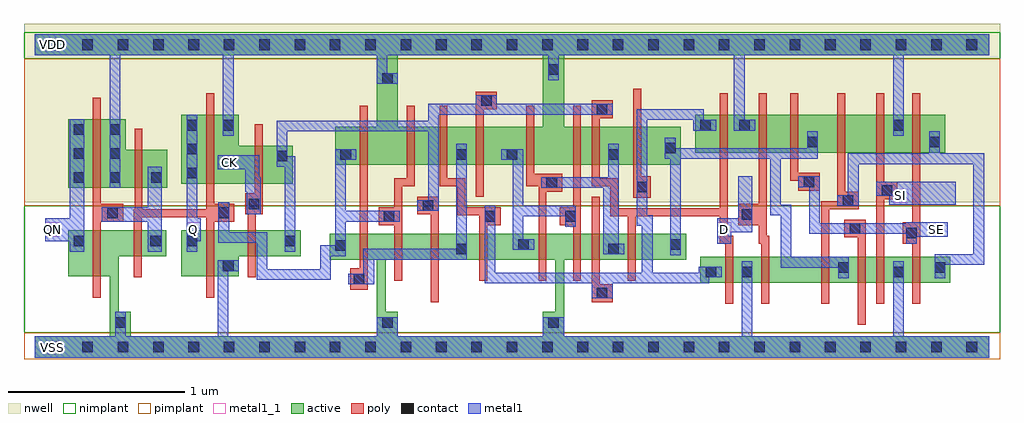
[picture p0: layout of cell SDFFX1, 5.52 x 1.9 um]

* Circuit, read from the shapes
.subckt SDFFX1 CK D Q QN SE SI VDD VSS
M1 VSS n1 QN VSS nfet w=0.26u l=0.045u
M2 n1 n2 VSS VSS nfet w=0.145u l=0.045u
M3 VSS n2 Q VSS nfet w=0.26u l=0.045u
M4 n3 CK VSS VSS nfet w=0.145u l=0.045u
M5 VSS n4 n2 VSS nfet w=0.145u l=0.045u
M6 n5 n2 VSS VSS nfet w=0.145u l=0.045u
M7 n4 n3 n5 VSS nfet w=0.145u l=0.045u
M8 n6 n7 n4 VSS nfet w=0.145u l=0.045u
M9 VSS n8 n6 VSS nfet w=0.145u l=0.045u
M10 n9 n6 VSS VSS nfet w=0.145u l=0.045u
M11 n8 n7 n9 VSS nfet w=0.145u l=0.045u
M12 n10 n3 n8 VSS nfet w=0.145u l=0.045u
M13 VSS n3 n7 VSS nfet w=0.145u l=0.045u
M14 n11 D VSS VSS nfet w=0.145u l=0.045u
M15 n10 n12 n11 VSS nfet w=0.145u l=0.045u
M16 n13 SE n10 VSS nfet w=0.145u l=0.045u
M17 VSS SI n13 VSS nfet w=0.145u l=0.045u
M18 n12 SE VSS VSS nfet w=0.145u l=0.045u
M19 VDD n1 QN VDD pfet w=0.39u l=0.045u
M20 n1 n2 VDD VDD pfet w=0.215u l=0.045u
M21 VDD n2 Q VDD pfet w=0.39u l=0.045u
M22 n3 CK VDD VDD pfet w=0.215u l=0.045u
M23 VDD n4 n2 VDD pfet w=0.215u l=0.045u
M24 n14 n2 VDD VDD pfet w=0.215u l=0.045u
M25 n4 n7 n14 VDD pfet w=0.215u l=0.045u
M26 n6 n3 n4 VDD pfet w=0.215u l=0.045u
M27 VDD n8 n6 VDD pfet w=0.215u l=0.045u
M28 n15 n6 VDD VDD pfet w=0.215u l=0.045u
M29 n8 n3 n15 VDD pfet w=0.215u l=0.045u
M30 n10 n7 n8 VDD pfet w=0.215u l=0.045u
M31 VDD n3 n7 VDD pfet w=0.215u l=0.045u
M32 n16 D VDD VDD pfet w=0.215u l=0.045u
M33 n10 SE n16 VDD pfet w=0.215u l=0.045u
M34 n17 n12 n10 VDD pfet w=0.215u l=0.045u
M35 VDD SI n17 VDD pfet w=0.215u l=0.045u
M36 n12 SE VDD VDD pfet w=0.215u l=0.045u
.ends

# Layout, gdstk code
import gdstk
lib = gdstk.Library(unit=1e-6, precision=5e-10)
def R(c, l, rs):  # rectangles x0, y0, x1, y1
    for r in rs: c.add(gdstk.rectangle(r[:2], r[2:], *l))
def A(c, l, x, y, w, h, nx, ny, dx, dy):  # array of equal rectangles
    R(c, l, [(x+i*dx, y+j*dy, x+i*dx+w, y+j*dy+h) for i in range(nx) for j in range(ny)])
def P(c, l, *ps):  # polygons
    for p in ps: c.add(gdstk.Polygon(p, *l))
active = (1, 0)
nwell = (2, 0)
poly = (3, 0)
nimplant = (4, 0)
pimplant = (5, 0)
contact = (6, 0)
metal1 = (7, 0)
metal1_1 = (7, 1)

sdffx1 = lib.new_cell('SDFFX1')
R(sdffx1, active, [(3.765,0.365,5.18,0.51), (3.735,1.1,5.15,1.315)])
P(sdffx1, active, [(0,1.77),(5.4,1.77),(5.4,1.65),(2.995,1.65),(2.995,1.245),(3.655,1.245),(3.655,1.03),(1.7,1.03),(1.7,1.245),(1.935,1.245),(1.935,1.65),(2.055,1.65),(2.055,1.245),(2.875,1.245),(2.875,1.65),(0,1.65)],
  [(0.83,1.315),(1.155,1.315),(1.155,1.14),(1.46,1.14),(1.46,0.925),(0.83,0.925)],
  [(0.19,1.29),(0.515,1.29),(0.515,1.115),(0.75,1.115),(0.75,0.9),(0.19,0.9)],
  [(0.19,0.66),(0.745,0.66),(0.745,0.515),(0.475,0.515),(0.475,0.2),(0.545,0.2),(0.545,0.06),(1.935,0.06),(1.935,0.495),(1.985,0.495),(1.985,0.2),(2.055,0.2),(2.055,0.06),(2.875,0.06),(2.875,0.2),(2.945,0.2),(2.945,0.495),(1.67,0.495),(1.67,0.64),(3.685,0.64),(3.685,0.495),(2.995,0.495),(2.995,0.06),(5.4,0.06),(5.4,-0.06),(0,-0.06),(0,0.06),(0.425,0.06),(0.425,0.4),(0.19,0.4)],
  [(0.83,0.66),(1.505,0.66),(1.505,0.515),(1.155,0.515),(1.155,0.4),(0.83,0.4)])
R(sdffx1, nwell, [(-0.06,0.82,5.46,1.83)])
P(sdffx1, poly, [(0.565,1.235),(0.61,1.235),(0.61,0.78),(0.97,0.78),(0.97,1.435),(1.015,1.435),(1.015,0.81),(1.13,0.81),(1.13,0.71),(1.015,0.71),(1.015,0.28),(0.97,0.28),(0.97,0.735),(0.605,0.735),(0.605,0.395),(0.56,0.395),(0.56,0.78),(0.565,0.78)],
  [(0.33,1.41),(0.375,1.41),(0.375,0.81),(0.5,0.81),(0.5,0.71),(0.375,0.71),(0.375,0.28),(0.33,0.28)],
  [(2.495,1.445),(2.615,1.445),(2.615,1.345),(2.54,1.345),(2.54,0.85),(2.495,0.85)],
  [(1.245,1.26),(1.29,1.26),(1.29,0.75),(1.25,0.75),(1.25,0.395),(1.205,0.395),(1.205,0.75),(1.19,0.75),(1.19,0.87),(1.245,0.87)],
  [(1.84,1.365),(1.885,1.365),(1.885,0.325),(1.785,0.325),(1.785,0.445),(1.84,0.445)],
  [(2.105,1.365),(2.15,1.365),(2.15,0.91),(2.08,0.91),(2.08,0.375),(2.035,0.375),(2.035,0.69),(1.945,0.69),(1.945,0.79),(2.035,0.79),(2.035,0.955),(2.105,0.955)],
  [(2.29,1.365),(2.335,1.365),(2.335,0.955),(2.435,0.955),(2.435,0.79),(2.635,0.79),(2.635,0.69),(2.56,0.69),(2.56,0.375),(2.515,0.375),(2.515,0.745),(2.39,0.745),(2.39,0.91),(2.29,0.91)],
  [(2.78,1.365),(2.825,1.365),(2.825,0.98),(2.985,0.98),(2.985,0.88),(2.895,0.88),(2.895,0.375),(2.85,0.375),(2.85,0.91),(2.78,0.91)],
  [(3.15,1.395),(3.27,1.395),(3.27,1.295),(3.195,1.295),(3.195,0.955),(3.3,0.955),(3.3,0.785),(3.875,0.785),(3.875,1.435),(3.92,1.435),(3.92,0.63),(3.95,0.63),(3.95,0.245),(3.905,0.245),(3.905,0.585),(3.875,0.585),(3.875,0.74),(3.4,0.74),(3.4,0.375),(3.355,0.375),(3.355,0.74),(3.255,0.74),(3.255,0.91),(3.15,0.91)],
  [(3.045,1.365),(3.09,1.365),(3.09,0.375),(3.045,0.375),(3.045,0.69),(2.97,0.69),(2.97,0.79),(3.045,0.79)],
  [(3.385,1.46),(3.43,1.46),(3.43,0.965),(3.485,0.965),(3.485,0.845),(3.385,0.845)],
  [(4.095,1.435),(4.14,1.435),(4.14,0.63),(4.155,0.63),(4.155,0.245),(4.11,0.245),(4.11,0.585),(4.095,0.585),(4.095,0.69),(3.98,0.69),(3.98,0.81),(4.095,0.81)],
  [(4.275,1.435),(4.32,1.435),(4.32,0.985),(4.44,0.985),(4.44,0.885),(4.32,0.885),(4.32,0.94),(4.275,0.94)],
  [(4.54,1.435),(4.585,1.435),(4.585,0.88),(4.66,0.88),(4.66,0.78),(4.495,0.78),(4.495,0.245),(4.45,0.245),(4.45,0.825),(4.54,0.825)],
  [(4.76,1.435),(4.805,1.435),(4.805,0.935),(4.88,0.935),(4.88,0.835),(4.805,0.835),(4.805,0.245),(4.76,0.245)],
  [(4.965,1.435),(5.01,1.435),(5.01,0.245),(4.965,0.245),(4.965,0.585),(4.91,0.585),(4.91,0.705),(4.965,0.705)],
  [(2.165,0.85),(2.285,0.85),(2.285,0.255),(2.24,0.255),(2.24,0.75),(2.165,0.75)],
  [(3.15,0.85),(3.195,0.85),(3.195,0.355),(3.27,0.355),(3.27,0.255),(3.15,0.255)],
  [(4.58,0.72),(4.7,0.72),(4.7,0.125),(4.655,0.125),(4.655,0.62),(4.58,0.62)])
R(sdffx1, nimplant, [(-0.06,0.08,5.46,0.8), (-0.06,1.63,5.46,1.78)])
R(sdffx1, pimplant, [(-0.06,-0.07,5.46,0.08), (-0.06,0.8,5.46,1.63)])
A(sdffx1, contact, 0.07, -0.03, 0.06, 0.06, 27, 2, 0.2, 1.71)
A(sdffx1, contact, 0.22, 0.93, 0.06, 0.06, 1, 3, 0, 0.135)
A(sdffx1, contact, 0.425, 0.93, 0.06, 0.06, 1, 3, 0, 0.135)
A(sdffx1, contact, 0.86, 0.955, 0.06, 0.06, 1, 3, 0, 0.135)
R(sdffx1, contact, [(0.455,0.11,0.515,0.17), (1.965,0.11,2.025,0.17), (2.905,0.11,2.965,0.17), (3.18,0.275,3.24,0.335), (1.805,0.355,1.865,0.415), (3.795,0.395,3.855,0.455), (4,0.395,4.06,0.455), (4.855,0.395,4.915,0.455), (4.545,0.42,4.605,0.48), (5.09,0.42,5.15,0.48), (1.065,0.43,1.125,0.49), (2.385,0.525,2.445,0.585), (3.245,0.525,3.305,0.585), (1.7,0.545,1.76,0.605), (2.735,0.55,2.795,0.61), (3.595,0.55,3.655,0.61), (0.22,0.57,0.28,0.63), (0.655,0.57,0.715,0.63), (0.86,0.57,0.92,0.63), (1.415,0.57,1.475,0.63), (4.93,0.615,4.99,0.675), (4.61,0.64,4.67,0.7), (1.975,0.71,2.035,0.77), (2.545,0.71,2.605,0.77), (3,0.71,3.06,0.77), (4,0.72,4.06,0.78), (0.41,0.73,0.47,0.79), (1.04,0.73,1.1,0.79), (2.195,0.77,2.255,0.83), (1.21,0.78,1.27,0.84), (4.57,0.8,4.63,0.86), (4.79,0.855,4.85,0.915), (3.405,0.875,3.465,0.935), (2.895,0.9,2.955,0.96), (4.35,0.905,4.41,0.965), (0.66,0.93,0.72,0.99), (1.37,1.05,1.43,1.11), (1.73,1.06,1.79,1.12), (2.385,1.06,2.445,1.12), (2.67,1.06,2.73,1.12), (3.245,1.06,3.305,1.12), (3.565,1.095,3.625,1.155), (4.37,1.13,4.43,1.19), (5.06,1.13,5.12,1.19), (1.065,1.225,1.125,1.285), (3.765,1.225,3.825,1.285), (3.985,1.225,4.045,1.285), (4.855,1.225,4.915,1.285), (3.18,1.315,3.24,1.375), (2.525,1.365,2.585,1.425), (1.965,1.49,2.025,1.55), (2.905,1.54,2.965,1.6)])
P(sdffx1, metal1, [(0,1.77),(5.4,1.77),(5.4,1.65),(4.915,1.65),(4.915,1.195),(4.855,1.195),(4.855,1.65),(4.015,1.65),(4.015,1.285),(4.075,1.285),(4.075,1.225),(3.955,1.225),(3.955,1.65),(2.965,1.65),(2.965,1.51),(2.905,1.51),(2.905,1.65),(1.995,1.65),(1.995,1.55),(2.055,1.55),(2.055,1.49),(1.935,1.49),(1.935,1.65),(1.125,1.65),(1.125,1.195),(1.065,1.195),(1.065,1.65),(0.485,1.65),(0.485,0.9),(0.425,0.9),(0.425,1.65),(0,1.65)],
  [(0.2,1.29),(0.28,1.29),(0.28,0.54),(0.2,0.54),(0.2,0.6),(0.06,0.6),(0.06,0.73),(0.2,0.73)],
  [(0.86,1.315),(0.92,1.315),(0.92,0.73),(0.94,0.73),(0.94,0.6),(0.92,0.6),(0.92,0.54),(0.86,0.54)],
  [(2.495,1.425),(2.615,1.425),(2.615,1.375),(3.27,1.375),(3.27,1.315),(2.285,1.315),(2.285,0.77),(2.165,0.77),(2.165,0.83),(2.225,0.83),(2.225,1.22),(1.43,1.22),(1.43,1.08),(1.475,1.08),(1.475,0.54),(1.415,0.54),(1.415,1.02),(1.37,1.02),(1.37,1.28),(2.225,1.28),(2.225,1.375),(2.495,1.375)],
  [(3.405,1.345),(3.785,1.345),(3.785,1.285),(3.855,1.285),(3.855,1.225),(3.725,1.225),(3.725,1.285),(3.465,1.285),(3.465,0.745),(3.495,0.745),(3.495,0.42),(3.755,0.42),(3.755,0.455),(3.885,0.455),(3.885,0.395),(3.815,0.395),(3.815,0.36),(3.27,0.36),(3.27,0.275),(3.15,0.275),(3.15,0.36),(2.545,0.36),(2.545,0.8),(2.605,0.8),(2.605,0.42),(3.435,0.42),(3.435,0.685),(3.405,0.685)],
  [(1.7,1.12),(1.82,1.12),(1.82,1.06),(1.76,1.06),(1.76,0.77),(2.065,0.77),(2.065,0.71),(1.76,0.71),(1.76,0.515),(1.675,0.515),(1.675,0.38),(1.255,0.38),(1.255,0.59),(1.04,0.59),(1.04,0.82),(1.1,0.82),(1.1,0.65),(1.315,0.65),(1.315,0.44),(1.615,0.44),(1.615,0.575),(1.7,0.575)],
  [(0.64,1.02),(0.72,1.02),(0.72,0.54),(0.64,0.54),(0.64,0.71),(0.38,0.71),(0.38,0.79),(0.64,0.79)],
  [(1.035,1.085),(1.27,1.085),(1.27,0.96),(1.28,0.96),(1.28,0.75),(1.2,0.75),(1.2,0.88),(1.19,0.88),(1.19,1.005),(1.035,1.005)],
  [(2.385,1.15),(2.445,1.15),(2.445,0.495),(1.92,0.495),(1.92,0.355),(1.775,0.355),(1.775,0.415),(1.86,0.415),(1.86,0.555),(2.385,0.555)],
  [(3.245,1.15),(3.305,1.15),(3.305,0.585),(3.335,0.585),(3.335,0.525),(3.215,0.525),(3.215,0.9),(2.865,0.9),(2.865,0.96),(3.245,0.96)],
  [(2.64,1.12),(2.765,1.12),(2.765,0.8),(3.06,0.8),(3.06,0.68),(3,0.68),(3,0.74),(2.765,0.74),(2.765,0.61),(2.825,0.61),(2.825,0.55),(2.705,0.55),(2.705,1.06),(2.64,1.06)],
  [(1.035,0.49),(1.155,0.49),(1.155,0.43),(1.095,0.43),(1.095,0.06),(1.935,0.06),(1.935,0.17),(2.055,0.17),(2.055,0.06),(2.875,0.06),(2.875,0.17),(2.995,0.17),(2.995,0.06),(4,0.06),(4,0.485),(4.06,0.485),(4.06,0.06),(4.855,0.06),(4.855,0.485),(4.915,0.485),(4.915,0.06),(5.4,0.06),(5.4,-0.06),(0,-0.06),(0,0.06),(0.455,0.06),(0.455,0.2),(0.515,0.2),(0.515,0.06),(1.035,0.06)],
  [(3.565,1.185),(3.625,1.185),(3.625,1.125),(4.37,1.125),(4.37,1.22),(4.43,1.22),(4.43,1.065),(4.22,1.065),(4.22,0.805),(4.28,0.805),(4.28,0.51),(4.605,0.51),(4.605,0.39),(4.545,0.39),(4.545,0.45),(4.22,0.45),(4.22,0.745),(4.16,0.745),(4.16,1.065),(3.655,1.065),(3.655,0.52),(3.595,0.52),(3.595,1.065),(3.565,1.065)],
  [(5.06,1.22),(5.12,1.22),(5.12,1.095),(5.37,1.095),(5.37,0.465),(5.15,0.465),(5.15,0.39),(5.09,0.39),(5.09,0.525),(5.31,0.525),(5.31,1.035),(4.66,1.035),(4.66,0.8),(4.54,0.8),(4.54,0.86),(4.6,0.86),(4.6,1.095),(5.06,1.095)],
  [(3.98,0.965),(4.06,0.965),(4.06,0.65),(3.94,0.65),(3.94,0.585),(3.86,0.585),(3.86,0.73),(3.98,0.73)],
  [(4.32,0.965),(4.44,0.965),(4.44,0.7),(4.93,0.7),(4.93,0.705),(5.165,0.705),(5.165,0.625),(4.99,0.625),(4.99,0.585),(4.93,0.585),(4.93,0.64),(4.38,0.64),(4.38,0.905),(4.32,0.905)],
  [(4.76,0.935),(5.21,0.935),(5.21,0.805),(4.835,0.805),(4.835,0.855),(4.76,0.855)])
R(sdffx1, metal1_1, [(0.06,-0.04,0.14,0.04), (0.06,0.625,0.14,0.705), (0.86,0.625,0.94,0.705), (3.86,0.625,3.94,0.705), (5.06,0.625,5.14,0.705), (4.86,0.815,4.94,0.895), (1.06,1.005,1.14,1.085), (0.06,1.67,0.14,1.75)])
sdffx1.add(gdstk.Label('Q', (0.9,0.665), layer=7, texttype=1))
sdffx1.add(gdstk.Label('QN', (0.1,0.665), layer=7, texttype=1))
sdffx1.add(gdstk.Label('SE', (5.1,0.665), layer=7, texttype=1))
sdffx1.add(gdstk.Label('SI', (4.9,0.855), layer=7, texttype=1))
sdffx1.add(gdstk.Label('D', (3.9,0.665), layer=7, texttype=1))
sdffx1.add(gdstk.Label('CK', (1.1,1.045), layer=7, texttype=1))
sdffx1.add(gdstk.Label('VDD', (0.1,1.71), layer=7, texttype=1))
sdffx1.add(gdstk.Label('VSS', (0.1,0), layer=7, texttype=1))
sdffx1.add(gdstk.Label('SDFFX1', (0,0), layer=63, texttype=0))

lib.write_gds('SDFFX1.gds')
